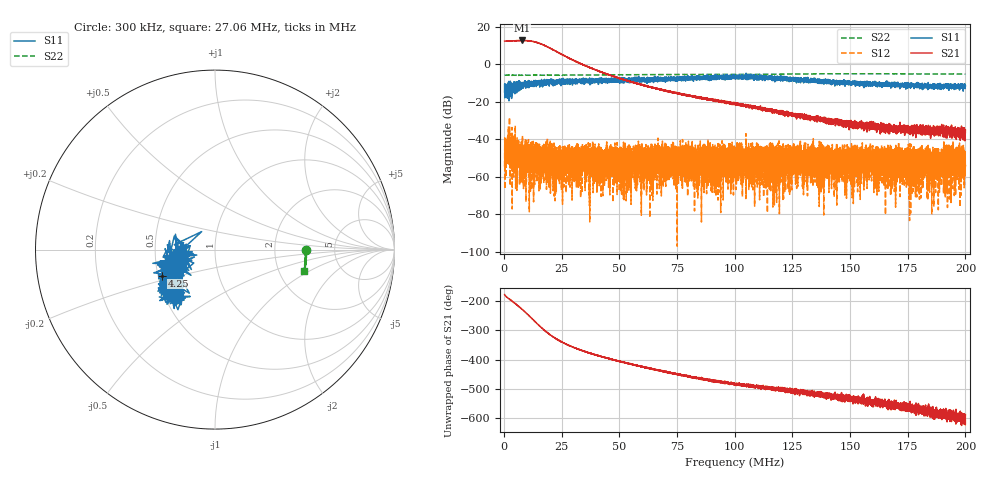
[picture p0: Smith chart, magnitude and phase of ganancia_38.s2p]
# Hz S DB R 50
! CMT, M5065, 19127446, 24.2.4/2
! Date: 11/8/2024 5:15:21 PM
! Data: Format (Calibration Info)
! Freq	S11:dB/Ang(F2)	S21:dB/Ang(F2)	S12:dB/Ang(F2)	S22:dB/Ang(F2)
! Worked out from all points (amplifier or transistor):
!   9000 points, 300 kHz to 200 MHz, reference 50 ohm
!   highest |S21| = 12.7 dB at 7.823 MHz (marker M1)
!   |S21| within 3 dB of that: start of sweep to 18.17 MHz
!   unconditionally stable (mu >= 1): start of sweep to end of sweep
!   at 33.59 MHz: K = 91.24, MAG = 2.0 dB, |S12| = -49.1 dB
!   at 100.2 MHz: K = 1439.79, MAG = -18.6 dB, |S12| = -53.1 dB
!   at 200 MHz: K = 9854.33, MAG = -33.3 dB, |S12| = -54.5 dB
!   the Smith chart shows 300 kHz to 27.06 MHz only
!   S11 on the Smith chart (normalised r, x): 300 kHz: 0.70, -0.08; 4.25 MHz: 0.52, -0.17; 27.06 MHz: 0.57, -0.37
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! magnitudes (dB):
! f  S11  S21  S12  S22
! 300 kHz  -14.8  12.3  -54.6  -5.9
! 1.521 MHz  -14.5  12.3  -39.3  -5.9
! 4.25 MHz  -9.6  12.5  -44.7  -5.9
! 7.823 MHz  -12.9  12.7  -50.3  -5.9
! 15.37 MHz  -10.2  11.1  -59.1  -5.9
! 27.06 MHz  -9.1  4.0  -50.7  -5.8
! 33.59 MHz  -9.2  0.1  -49.1  -5.8
! 66.87 MHz  -9.0  -13.2  -42.1  -5.5
! 100.2 MHz  -6.7  -21.1  -53.1  -5.4
! 133.4 MHz  -8.4  -29.3  -42.6  -5.2
! 138.4 MHz  -8.5  -29.2  -49.7  -5.1
! 140.4 MHz  -8.8  -29.8  -58.0  -5.1
! 142.4 MHz  -9.6  -31.8  -45.3  -5.1
! 146.7 MHz  -8.9  -30.5  -48.3  -5.1
! 150.7 MHz  -10.5  -32.3  -50.5  -5.1
! 153.1 MHz  -9.9  -32.9  -46.2  -5.1
! 166.7 MHz  -10.8  -35.3  -45.8  -5.1
! 176.5 MHz  -10.2  -33.9  -46.6  -5.2
! 179.6 MHz  -11.5  -34.0  -63.3  -5.2
! 191.3 MHz  -11.9  -36.4  -50.5  -5.3
! 198.4 MHz  -12.7  -34.7  -51.1  -5.3
! 200 MHz  -11.5  -35.1  -54.5  -5.3
